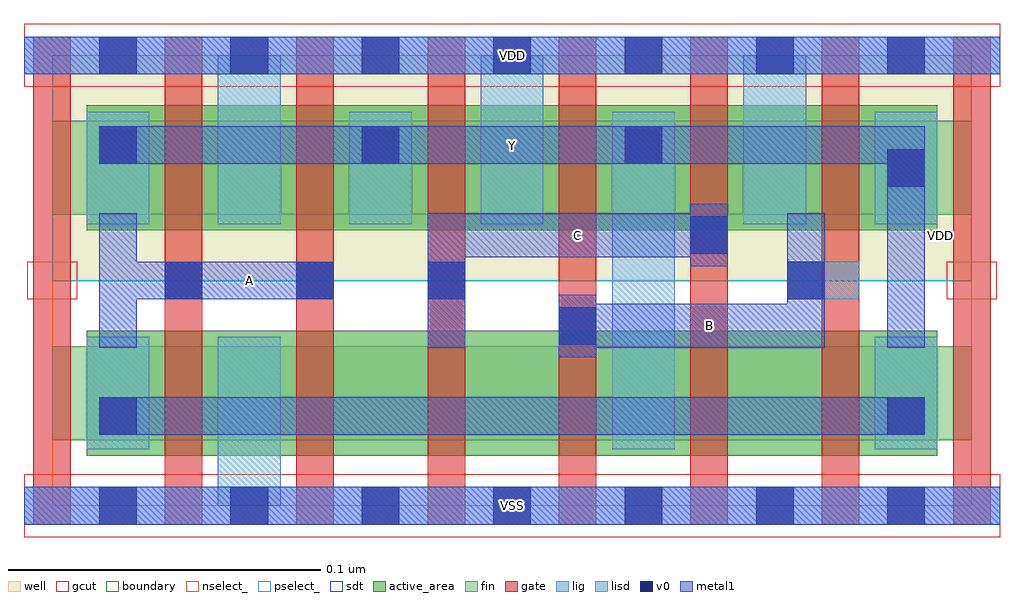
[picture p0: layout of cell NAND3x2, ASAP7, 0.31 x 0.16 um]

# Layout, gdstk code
import gdstk
lib = gdstk.Library(unit=1e-6, precision=2.5e-10)
def R(c, l, rs):  # rectangles x0, y0, x1, y1
    for r in rs: c.add(gdstk.rectangle(r[:2], r[2:], *l))
def A(c, l, x, y, w, h, nx, ny, dx, dy):  # array of equal rectangles
    R(c, l, [(x+i*dx, y+j*dy, x+i*dx+w, y+j*dy+h) for i in range(nx) for j in range(ny)])
def P(c, l, *ps):  # polygons
    for p in ps: c.add(gdstk.Polygon(p, *l))
well = (1, 0)
fin = (2, 0)
gate = (7, 0)
gcut = (10, 0)
active_area = (11, 0)
nselect_ = (12, 0)
pselect_ = (13, 0)
lig = (16, 0)
lisd = (17, 0)
v0 = (18, 0)
metal1 = (19, 0)
sdt = (88, 0)
boundary = (100, 0)

nand3x2 = lib.new_cell('NAND3x2')
R(nand3x2, well, [(0,0.072,0.294,0.144)])
R(nand3x2, fin, [(0,0.021,0.294,0.051), (0,0.093,0.294,0.123)])
A(nand3x2, gate, -0.006, -0.006, 0.012, 0.156, 8, 1, 0.042, 0)
R(nand3x2, gcut, [(-0.009,-0.01,0.303,0.01), (-0.008,0.066,0.008,0.078), (0.286,0.066,0.302,0.078), (-0.009,0.134,0.303,0.154)])
R(nand3x2, active_area, [(0.011,0.016,0.283,0.056), (0.011,0.088,0.283,0.128)])
R(nand3x2, nselect_, [(0,0,0.294,0.072)])
R(nand3x2, pselect_, [(0,0.072,0.294,0.144)])
A(nand3x2, lig, 0.036, 0.066, 0.012, 0.012, 3, 1, 0.042, 0)
R(nand3x2, lig, [(-0.009,-0.006,0.303,0.006), (0.162,0.0515,0.174,0.0635), (0.235,0.066,0.258,0.078), (0.204,0.0805,0.216,0.0925), (-0.009,0.138,0.303,0.15)])
A(nand3x2, lisd, 0.053, 0.09, 0.02, 0.054, 3, 1, 0.084, 0)
R(nand3x2, lisd, [(0.053,0,0.073,0.054), (0.011,0.018,0.031,0.054), (0.179,0.018,0.199,0.126), (0.263,0.018,0.283,0.054), (0.011,0.09,0.031,0.126), (0.095,0.09,0.115,0.126), (0.263,0.09,0.283,0.126)])
A(nand3x2, v0, 0.015, -0.006, 0.012, 0.012, 7, 2, 0.042, 0.144)
A(nand3x2, v0, 0.036, 0.066, 0.012, 0.012, 3, 1, 0.042, 0)
A(nand3x2, v0, 0.015, 0.1092, 0.012, 0.012, 3, 1, 0.084, 0)
R(nand3x2, v0, [(0.015,0.0227,0.027,0.0348), (0.267,0.0227,0.279,0.0348), (0.162,0.0515,0.174,0.0635), (0.235,0.066,0.247,0.078), (0.204,0.0805,0.216,0.0925), (0.267,0.102,0.279,0.114)])
R(nand3x2, metal1, [(-0.009,-0.006,0.303,0.006), (0.015,0.0227,0.279,0.0348), (-0.009,0.138,0.303,0.15)])
P(nand3x2, metal1, [(0.279,0.1212),(0.015,0.1212),(0.015,0.1092),(0.267,0.1092),(0.267,0.0505),(0.279,0.0505)],
  [(0.174,0.0645),(0.174,0.0675),(0.162,0.0675),(0.162,0.0475),(0.174,0.0475),(0.174,0.0505),(0.247,0.0505),(0.247,0.0935),(0.235,0.0935),(0.235,0.0645)],
  [(0.027,0.066),(0.09,0.066),(0.09,0.078),(0.027,0.078),(0.027,0.0935),(0.015,0.0935),(0.015,0.0505),(0.027,0.0505)],
  [(0.216,0.0765),(0.216,0.0965),(0.204,0.0965),(0.204,0.0935),(0.12,0.0935),(0.12,0.0505),(0.132,0.0505),(0.132,0.0795),(0.204,0.0795),(0.204,0.0765)])
A(nand3x2, sdt, 0.011, 0.093, 0.02, 0.03, 7, 1, 0.042, 0)
R(nand3x2, sdt, [(0.011,0.021,0.031,0.051), (0.053,0.021,0.073,0.051), (0.179,0.021,0.199,0.051), (0.263,0.021,0.283,0.051)])
R(nand3x2, boundary, [(0,0,0.294,0.144)])
nand3x2.add(gdstk.Label('VDD', (0.284,0.0865), layer=1, texttype=251))
nand3x2.add(gdstk.Label('VSS', (0.338,0.0505), layer=3, texttype=251))
nand3x2.add(gdstk.Label('C', (0.168,0.0865), layer=19, texttype=251))
nand3x2.add(gdstk.Label('B', (0.21,0.0575), layer=19, texttype=251))
nand3x2.add(gdstk.Label('Y', (0.147,0.1153), layer=19, texttype=251))
nand3x2.add(gdstk.Label('A', (0.063,0.072), layer=19, texttype=251))
nand3x2.add(gdstk.Label('VSS', (0.147,0), layer=19, texttype=251))
nand3x2.add(gdstk.Label('VDD', (0.147,0.144), layer=19, texttype=251))

lib.write_gds('NAND3x2.gds')
